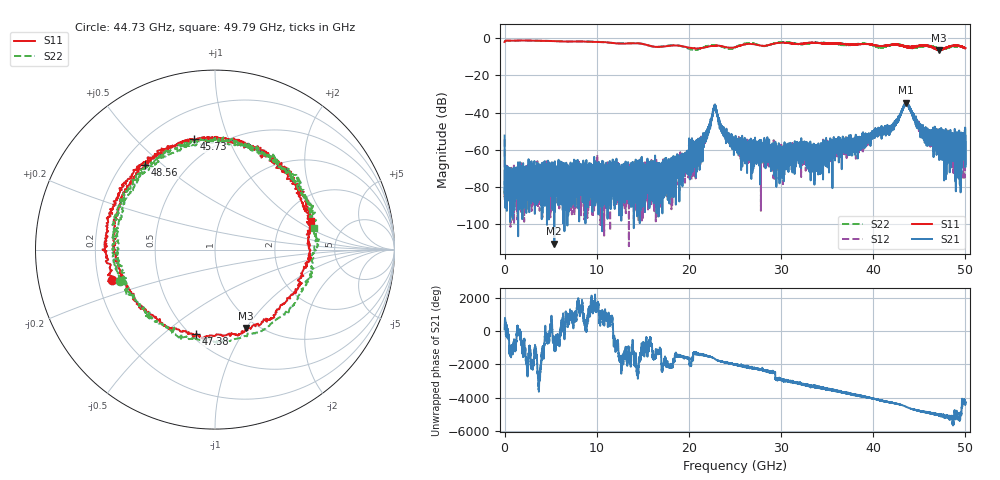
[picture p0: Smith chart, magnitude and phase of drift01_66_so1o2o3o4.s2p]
!Created with skrf (http://scikit-rf.org).
# Hz S RI R 50.0
!freq ReS11 ImS11 ReS21 ImS21 ReS12 ImS12 ReS22 ImS22
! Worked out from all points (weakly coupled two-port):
!   10001 points, 300 kHz to 50 GHz, reference 50 ohm
!   highest |S21| = -34.78 dB at 43.56 GHz (marker M1); lowest = -110.4 dB at 5.39 GHz (marker M2)
!   lowest |S11| = -6.6 dB at 47.15 GHz (marker M3), VSWR 2.77, Z = 44.5 - j49.9 ohm
!   |S11| at or under -10 dB: nowhere
!   |S22| runs from -6.4 to -1.4 dB; largest |S21 - S12| = 0.0042
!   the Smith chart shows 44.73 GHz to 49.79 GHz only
!   S11 on the Smith chart (normalised r, x): 44.73 GHz: 0.26, -0.13; 45.73 GHz: 0.37, +0.75; 47.38 GHz: 0.53, -0.65; 48.56 GHz: 0.29, +0.44; 49.79 GHz: 2.85, +1.33
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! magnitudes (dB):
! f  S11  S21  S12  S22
! 300 kHz  -2.2  -52.3  -54.4  -2.1
! 265.3 MHz  -1.4  -78.1  -82.4  -1.4
! 5.39 GHz  -1.7  -110.4  -71.5  -1.7
! 8.335 GHz  -1.9  -75.0  -81.0  -1.8
! 16.67 GHz  -4.8  -69.7  -73.5  -4.8
! 20.86 GHz  -5.6  -56.8  -60.3  -6.2
! 21.94 GHz  -4.8  -53.9  -51.5  -4.5
! 22.8 GHz  -4.3  -36.3  -36.4  -4.0
! 23.77 GHz  -4.6  -52.6  -50.4  -5.1
! 25 GHz  -5.0  -55.8  -57.2  -5.0
! 29.99 GHz  -2.6  -67.4  -67.5  -2.3
! 31.73 GHz  -3.3  -61.3  -59.6  -3.2
! 33.34 GHz  -2.6  -71.7  -61.0  -2.6
! 41.67 GHz  -3.9  -48.4  -48.7  -4.2
! 43.56 GHz  -4.7  -34.8  -35.5  -4.7
! 44.73 GHz  -4.5  -48.3  -44.7  -5.1
! 45.73 GHz  -4.1  -52.3  -52.3  -4.4
! 47.15 GHz  -6.6  -63.7  -52.6  -5.7
! 47.38 GHz  -6.3  -61.5  -54.3  -5.8
! 48.56 GHz  -4.3  -65.4  -55.3  -4.7
! 49.79 GHz  -5.0  -52.9  -61.3  -4.9
! 50 GHz  -5.4  -52.5  -59.8  -5.2
